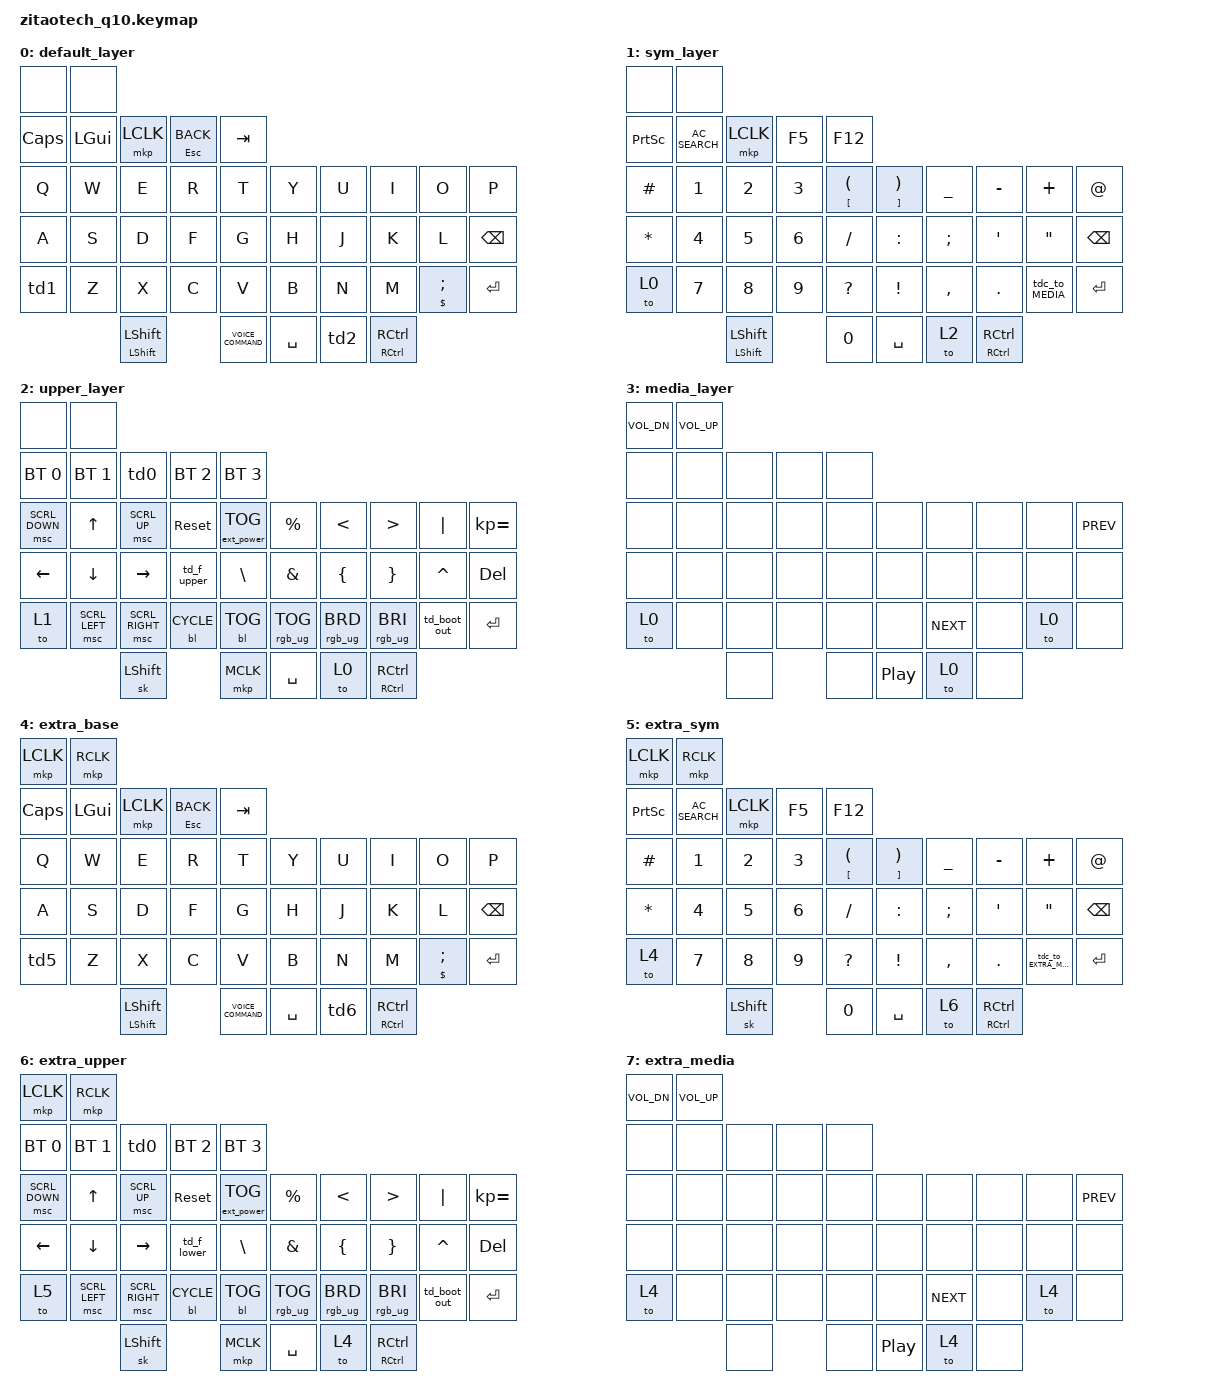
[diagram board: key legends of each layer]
/*
 * Copyright (c) 2023 ZitaoTech
 *
 * SPDX-License-Identifier: MIT
 */

#include <dt-bindings/zmk/mouse.h>
#include <zephyr/dt-bindings/input/input-event-codes.h>
#include <behaviors.dtsi>
#include <dt-bindings/zmk/backlight.h>
#include <dt-bindings/zmk/bt.h>
#include <dt-bindings/zmk/ext_power.h>
#include <dt-bindings/zmk/keys.h>
#include <dt-bindings/zmk/outputs.h>
#include <dt-bindings/zmk/pointing.h>
#include <dt-bindings/zmk/rgb.h>

#define DEFAULT 0
#define SYM 1
#define UPPER 2
#define MEDIA 3

#define SL_TO(layer) &sl_to layer layer //tap -> sticky layer, double tap -> to layer

&sl { release-after-ms = <3000>; };

/ {
    behaviors {
        td0: tap_dance_0 {
            compatible = "zmk,behavior-tap-dance";
            #binding-cells = <0>;
            tapping-term-ms = <400>;
            bindings = <&mkp LCLK>, <&mkp RCLK>, <&bt BT_CLR>;
        };
    };

    behaviors {
        td_boot_out: td_boot_out {
            compatible = "zmk,behavior-tap-dance";
            #binding-cells = <0>;
            tapping-term-ms = <400>;
            bindings = <&bootloader>, <&out OUT_TOG>;
        };
    };

    behaviors {
    };

    behaviors {
        tdc_to_MEDIA: td_mute_to_layer {
            compatible = "zmk,behavior-tap-dance";
            #binding-cells = <0>;
            tapping-term-ms = <400>;
            bindings = <&kp C_MUTE>, <&to 3>;
        };
    };

    behaviors {
        td1: tap_stickylayer_doubletap_tolayer_1 {
            compatible = "zmk,behavior-tap-dance";
            #binding-cells = <0>;
            tapping-term-ms = <400>;
            bindings = <&sl 1>, <&to 1>;
        };
    };

    behaviors {
        td2: tap_stickylayer_doubletap_tolayer_2 {
            compatible = "zmk,behavior-tap-dance";
            #binding-cells = <0>;
            tapping-term-ms = <400>;
            bindings = <&sl 2>, <&to 2>;
        };
    };

    behaviors {
        sk_kp: behavior_sk_kp {
            compatible = "zmk,behavior-hold-tap";
            #binding-cells = <2>;
            flavor = "hold-preferred";
            tapping-term-ms = <400>;
            bindings = <&kp &sk>;          /* hold=kp, tap=sticky key */
        };
    };

    behaviors {
        td_f_upper: tap_dance_f_upper {
            compatible = "zmk,behavior-tap-dance";
            #binding-cells = <0>;
            tapping-term-ms = <400>;
            bindings = <&none>, <&to 4>;
        };

        trackpad_click: trackpad_click {
            compatible = "zmk,behavior-tap-dance";
            #binding-cells = <0>;
            tapping-term-ms = <200>;
            bindings = <&mkp LCLK>, <&mkp RCLK>;

            label = "TRACKPAD_CLICK";
        };

        tdc_to_EXTRA_MEDIA: tdc_to_EXTRA_MEDIA {
            compatible = "zmk,behavior-tap-dance";
            #binding-cells = <0>;
            tapping-term-ms = <400>;
            bindings = <&kp C_MUTE>, <&to 7>;

            label = "TDC_TO_EXTRA_MEDIA";
        };

        td5: td5 {
            compatible = "zmk,behavior-tap-dance";
            #binding-cells = <0>;
            tapping-term-ms = <400>;
            bindings = <&sl 5>, <&to 5>;

            label = "TD5";
        };

        td6: td6 {
            compatible = "zmk,behavior-tap-dance";
            #binding-cells = <0>;
            tapping-term-ms = <400>;
            bindings = <&sl 6>, <&to 6>;

            label = "TD6";
        };

        td_f_lower: td_f_lower {
            compatible = "zmk,behavior-tap-dance";
            #binding-cells = <0>;
            tapping-term-ms = <400>;
            bindings = <&none>, <&to 0>;

            label = "TD_F_LOWER";
        };
    };

    keymap {
        compatible = "zmk,keymap";

        default_layer {
            bindings = <
&none     &none
&kp CLCK  &kp LGUI  &mkp LCLK                     &mt ESC K_BACK  &kp TAB
&kp Q     &kp W     &kp E                         &kp R           &kp T                &kp Y        &kp U  &kp I               &kp O          &kp P
&kp A     &kp S     &kp D                         &kp F           &kp G                &kp H        &kp J  &kp K               &kp L          &kp BSPC
&td1      &kp Z     &kp X                         &kp C           &kp V                &kp B        &kp N  &kp M               &mt DLLR SEMI  &kp ENTER
                    &sk_kp LEFT_SHIFT LEFT_SHIFT                  &kp C_VOICE_COMMAND  &kp SPACE    &td2   &sk_kp RCTRL RCTRL
            >;
        };

        sym_layer {
            bindings = <
&none      &none
&kp PSCRN  &kp C_AC_SEARCH  &mkp LCLK                     &kp F5  &kp F12
&kp HASH   &kp N1           &kp N2                        &kp N3  &mt LBKT LPAR  &mt RBKT RPAR    &kp UNDER  &kp MINUS                           &kp PLUS       &kp AT
&kp STAR   &kp N4           &kp N5                        &kp N6  &kp SLASH      &kp COLON        &kp SEMI   &kp APOS                            &kp DQT        &kp BACKSPACE
&to 0      &kp N7           &kp N8                        &kp N9  &kp QMARK      &kp EXCL         &kp COMMA  &kp DOT                             &tdc_to_MEDIA  &kp ENTER
                            &sk_kp LEFT_SHIFT LEFT_SHIFT          &kp N0         &kp SPACE        &to 2      &sk_kp RIGHT_CONTROL RIGHT_CONTROL
            >;
        };

        upper_layer {
            bindings = <
&none           &none
&bt BT_SEL 0    &bt BT_SEL 1    &td0             &bt BT_SEL 2  &bt BT_SEL 3
&msc SCRL_DOWN  &kp UP          &msc SCRL_UP     &sys_reset    &ext_power EP_TOG  &kp PERCENT        &kp LT           &kp GT                              &kp PIPE      &kp KP_EQUAL
&kp LEFT        &kp DOWN        &kp RIGHT        &td_f_upper   &kp BSLH           &kp AMPS           &kp LBRC         &kp RBRC                            &kp CARET     &kp DEL
&to 1           &msc SCRL_LEFT  &msc SCRL_RIGHT  &bl BL_CYCLE  &bl BL_TOG         &rgb_ug RGB_TOG    &rgb_ug RGB_BRD  &rgb_ug RGB_BRI                     &td_boot_out  &kp ENTER
                                &sk LEFT_SHIFT                 &mkp MCLK          &kp SPACE          &to 0            &sk_kp RIGHT_CONTROL RIGHT_CONTROL
            >;
        };

        media_layer {
            bindings = <
&kp C_VOL_DN  &kp C_VOL_UP
&none         &none         &none  &none  &none
&none         &none         &none  &none  &none  &none               &none       &none  &none  &kp C_PREV
&none         &none         &none  &none  &none  &none               &none       &none  &none  &none
&to 0         &none         &none  &none  &none  &none               &kp C_NEXT  &none  &to 0  &none
                            &none         &none  &kp C_PLAY_PAUSE    &to 0       &none
            >;
        };

        extra_base {
            bindings = <
&mkp LCLK  &mkp RCLK
&kp CLCK   &kp LGUI   &mkp LCLK                     &mt ESC K_BACK  &kp TAB
&kp Q      &kp W      &kp E                         &kp R           &kp T                &kp Y        &kp U  &kp I                               &kp O          &kp P
&kp A      &kp S      &kp D                         &kp F           &kp G                &kp H        &kp J  &kp K                               &kp L          &kp BSPC
&td5       &kp Z      &kp X                         &kp C           &kp V                &kp B        &kp N  &kp M                               &mt DLLR SEMI  &kp ENTER
                      &sk_kp LEFT_SHIFT LEFT_SHIFT                  &kp C_VOICE_COMMAND  &kp SPACE    &td6   &sk_kp RIGHT_CONTROL RIGHT_CONTROL
            >;
        };

        extra_sym {
            bindings = <
&mkp LCLK  &mkp RCLK
&kp PSCRN  &kp C_AC_SEARCH  &mkp LCLK       &kp F5  &kp F12
&kp HASH   &kp N1           &kp N2          &kp N3  &mt LBKT LPAR  &mt RBKT RPAR    &kp UNDER  &kp MINUS                           &kp PLUS             &kp AT
&kp STAR   &kp N4           &kp N5          &kp N6  &kp SLASH      &kp COLON        &kp SEMI   &kp APOS                            &kp DQT              &kp BACKSPACE
&to 4      &kp N7           &kp N8          &kp N9  &kp QMARK      &kp EXCL         &kp COMMA  &kp DOT                             &tdc_to_EXTRA_MEDIA  &kp ENTER
                            &sk LEFT_SHIFT          &kp N0         &kp SPACE        &to 6      &sk_kp RIGHT_CONTROL RIGHT_CONTROL
            >;
        };

        extra_upper {
            bindings = <
&mkp LCLK       &mkp RCLK
&bt BT_SEL 0    &bt BT_SEL 1    &td0             &bt BT_SEL 2  &bt BT_SEL 3
&msc SCRL_DOWN  &kp UP          &msc SCRL_UP     &sys_reset    &ext_power EP_TOG  &kp PERCENT        &kp LT           &kp GT                              &kp PIPE      &kp KP_EQUAL
&kp LEFT        &kp DOWN        &kp RIGHT        &td_f_lower   &kp BSLH           &kp AMPS           &kp LBRC         &kp RBRC                            &kp CARET     &kp DEL
&to 5           &msc SCRL_LEFT  &msc SCRL_RIGHT  &bl BL_CYCLE  &bl BL_TOG         &rgb_ug RGB_TOG    &rgb_ug RGB_BRD  &rgb_ug RGB_BRI                     &td_boot_out  &kp ENTER
                                &sk LEFT_SHIFT                 &mkp MCLK          &kp SPACE          &to 4            &sk_kp RIGHT_CONTROL RIGHT_CONTROL
            >;
        };

        extra_media {
            bindings = <
&kp C_VOL_DN  &kp C_VOL_UP
&none         &none         &none  &none  &none
&none         &none         &none  &none  &none  &none               &none       &none  &none  &kp C_PREV
&none         &none         &none  &none  &none  &none               &none       &none  &none  &none
&to 4         &none         &none  &none  &none  &none               &kp C_NEXT  &none  &to 4  &none
                            &none         &none  &kp C_PLAY_PAUSE    &to 4       &none
            >;
        };
    };

    conditional_layers { compatible = "zmk,conditional-layers"; };
};
